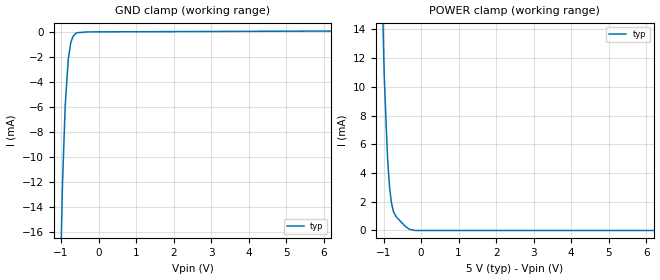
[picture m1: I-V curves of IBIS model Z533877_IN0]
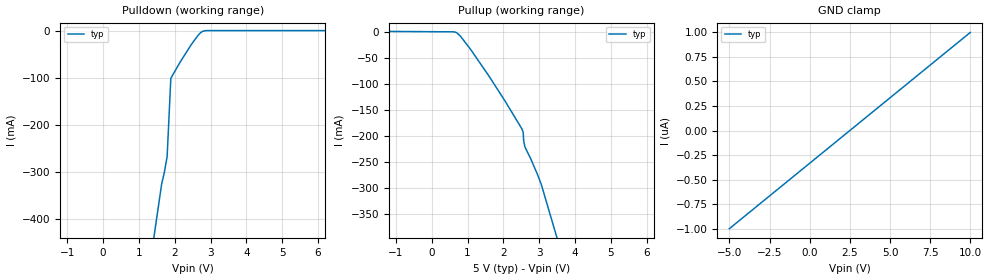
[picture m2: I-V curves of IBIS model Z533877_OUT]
| YOU ARE ONLY AUTHORIZED TO USE THIS SOFTWARE
| ACCORDING TO LICENSOR'S LICENSE RESTRICTIONS.
[IBIS Ver] 3.1
[File Name] mc100el58d_50.ibs
[File Rev] 1
[Source] Derived from mc100el58d_50.ibs Measured and created
|   by ICX Technology
[Date] 7/8/2004
[Copyright]
| (C) COPYRIGHT 1993-2000
| MENTOR GRAPHICS CORPORATION
| ICX STANDARD LIBRARY, ICX PROJECT MODELING,
| ICX CUSTOM MODELING, ICX VENDOR MODEL
| ALL RIGHTS RESERVED.
| THE FOLLOWING ARE TRADEMARKS OR SERVICE MARKS OF
| MENTOR GRAPHICS CORPORATION:ICX (R), ICX STANDARD
| LIBRARY(R), ICX PROJECT MODELING(R), ICX CUSTOM
| MODELING(R), qualityIBIS(TM), MODELVIEWER(TM),
| AND MODELEDITOR(TM)
| ALL COPIES OF SOFTWARE, INCLUDING BUT NOT LIMITED TO
| ANY MODIFICATIONS, ENHANCEMENTS OR DERIVATIVE WORKS,
| MUST CONTAIN ALL MENTOR GRAPHICS CORPORATION'S
| NOTICES AND LEGENDS, INCLUDING THOSE EMBEDDED IN
| SOFTWARE AND THOSE AFFIXED TO SOFTWARE MEDIUM
| AND CONTAINER, AS RECEIVED FROM MENTOR GRAPHICS
| CORPORATION.
|  ZAP Model Builder 2.7
[Component] MC100EL58D_50
[Manufacturer] OnSemiconductor
[Package]
| variable   typ   min   max
R_pkg  .152ohms NA NA
L_pkg  2.714nH NA NA
C_pkg  .364pF NA NA
[Pin] signal_name  model_name  R_pin  L_pin C_pin
1 D0 Z533877_IN1 .15 2.504n .354p
2 _D0 Z533877_IN1 .15 2.504n .354p
3 D1 Z533877_IN1 .15 2.504n .354p
4 _D1 Z533877_IN1 .15 2.504n .354p
5 D2 Z533877_IN1 .15 2.504n .354p
6 _D2 Z533877_IN1 .15 2.504n .354p
7 D3 Z533877_IN1 .15 2.504n .354p
8 _D3 Z533877_IN1 .15 2.504n .354p
9 VEE POWER .154 2.924n .374p
10 VBB2 POWER .154 2.924n .374p
11 VBB1 POWER .154 2.924n .374p
12 _Q Z533877_OUT .15 2.504n .354p
13 Q Z533877_OUT .15 2.504n .354p
14 SEL1 Z533877_IN0 .15 2.504n .354p
15 SEL0 Z533877_IN0 .15 2.504n .354p
16 VCC POWER .154 2.924n .374p
[Diff Pin] inv_pin vdiff tdelay_typ tdelay_min tdelay_max
1 2 150mv NA NA NA
3 4 150mv NA NA NA
5 6 150mv NA NA NA
7 8 150mv NA NA NA
13 12 NA NA NA NA
| Models and submodels in the file (3): Z533877_IN0 (Input), Z533877_IN1 (Input), Z533877_OUT (Output)
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| (C) COPYRIGHT 1993-2000
| MENTOR GRAPHICS CORPORATION
| ICX STANDARD LIBRARY, ICX PROJECT MODELING,
| ICX CUSTOM MODELING, ICX VENDOR MODEL
| ALL RIGHTS RESERVED.
| THE FOLLOWING ARE TRADEMARKS OR SERVICE MARKS OF
| MENTOR GRAPHICS CORPORATION:ICX (R), ICX STANDARD
| LIBRARY(R), ICX PROJECT MODELING(R), ICX CUSTOM
| MODELING(R), qualityIBIS(TM), MODELVIEWER(TM),
| AND MODELEDITOR(TM)
| ALL COPIES OF SOFTWARE, INCLUDING BUT NOT LIMITED TO
| ANY MODIFICATIONS, ENHANCEMENTS OR DERIVATIVE WORKS,
| MUST CONTAIN ALL MENTOR GRAPHICS CORPORATION'S
| NOTICES AND LEGENDS, INCLUDING THOSE EMBEDDED IN
| SOFTWARE AND THOSE AFFIXED TO SOFTWARE MEDIUM
| AND CONTAINER, AS RECEIVED FROM MENTOR GRAPHICS
| CORPORATION.
| Model Application Version 1.89 2/18/99.
[Model] Z533877_IN0
Model_type Input
Vinl = 2.825V
Vinh = 3.525V
C_comp 2.000pF NA NA
| variable typ   min   max
[Voltage Range] 5.000V NA NA
[GND Clamp Reference] 0.000V NA NA
[POWER Clamp Reference] 5.000V NA NA
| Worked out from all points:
|   GND clamp passes 1 mA (typ) near -0.75 V on its own axis
|   POWER clamp passes 1 mA (typ) near -0.67 V on its own axis
[GND Clamp]
-5V       -563.8mA   NA         NA
-961.6mV  -12.23mA   NA         NA
-888.7mV  -5.901mA   NA         NA
-805.7mV  -2.188mA   NA         NA
-741.7mV  -888.4uA   NA         NA
-683.1mV  -386.7uA   NA         NA
-586.7mV  -87.81uA   NA         NA
-293.4mV  -18.35uA   NA         NA
10V       90.15uA    NA         NA
[POWER Clamp]
-5V       455.3mA    NA         NA
-981mV    10.7mA     NA         NA
-895mV    5.142mA    NA         NA
-840mV    3.03mA     NA         NA
-791mV    1.952mA    NA         NA
-736mV    1.307mA    NA         NA
-660mV    939.4uA    NA         NA
-430mV    313.3uA    NA         NA
-309mV    79.1uA     NA         NA
-154.5mV  0A         NA         NA
10V       0A         NA         NA
| (C) COPYRIGHT 1993-2000
| MENTOR GRAPHICS CORPORATION
| ICX STANDARD LIBRARY, ICX PROJECT MODELING,
| ICX CUSTOM MODELING, ICX VENDOR MODEL
| ALL RIGHTS RESERVED.
| THE FOLLOWING ARE TRADEMARKS OR SERVICE MARKS OF
| MENTOR GRAPHICS CORPORATION:ICX (R), ICX STANDARD
| LIBRARY(R), ICX PROJECT MODELING(R), ICX CUSTOM
| MODELING(R), qualityIBIS(TM), MODELVIEWER(TM),
| AND MODELEDITOR(TM)
| ALL COPIES OF SOFTWARE, INCLUDING BUT NOT LIMITED TO
| ANY MODIFICATIONS, ENHANCEMENTS OR DERIVATIVE WORKS,
| MUST CONTAIN ALL MENTOR GRAPHICS CORPORATION'S
| NOTICES AND LEGENDS, INCLUDING THOSE EMBEDDED IN
| SOFTWARE AND THOSE AFFIXED TO SOFTWARE MEDIUM
| AND CONTAINER, AS RECEIVED FROM MENTOR GRAPHICS
| CORPORATION.
| Model Application Version 1.89 2/18/99.
[Model] Z533877_OUT
Model_type Output
Vref=3.000V
Rref=50.0ohms
Cref=0.000F
Vmeas=3.670V
C_comp 2.000pF NA NA
| variable typ   min   max
[Voltage Range] 5.000V NA NA
[POWER Clamp Reference] 5.000V NA NA
[Pullup Reference] 5.000V NA NA
[Pulldown Reference] 0.000V NA NA
[GND Clamp Reference] 0.000V NA NA
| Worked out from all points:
|   slope of the pulldown table from 0 to 0.75 V, typ, clamps not added: 1.91 ohm
|   slope of the pullup table from 0 to 0.75 V, typ, clamps not added: 142 ohm
[GND Clamp]
-5V       -1uA       NA         NA
10V       1uA        NA         NA
[Pulldown]
-5V       -3.795A    NA         NA
1.632V    -325.7mA   NA         NA
1.709V    -300.4mA   NA         NA
1.787V    -266.5mA   NA         NA
1.89V     -100.8mA   NA         NA
2.153V    -66.21mA   NA         NA
2.451V    -30.57mA   NA         NA
2.632V    -11.62mA   NA         NA
2.763V    -1.942mA   NA         NA
2.9V      222.7uA    NA         NA
10V       256uA      NA         NA
[Pullup]
-5V       2.451mA    NA         NA
662mV     -681.1uA   NA         NA
796mV     -7.939mA   NA         NA
1.089V    -34.19mA   NA         NA
1.592V    -84.58mA   NA         NA
2.519V    -187mA     NA         NA
2.553V    -193.3mA   NA         NA
2.568V    -209.7mA   NA         NA
2.602V    -221.7mA   NA         NA
2.759V    -243.7mA   NA         NA
3.061V    -294.3mA   NA         NA
10V       -1.921A    NA         NA
[POWER Clamp]
-5V       0A         NA         NA
10V       0A         NA         NA
[Ramp]
| variable typ min max
dV/dt_r 897.3m/.225n NA NA
dV/dt_f 897.3m/.255n NA NA
R_load = 50.0Ohms
